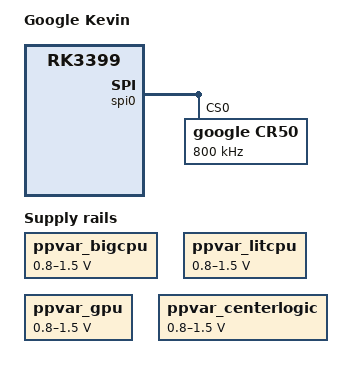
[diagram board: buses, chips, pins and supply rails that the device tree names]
/*
 * Google Gru-Kevin Rev 4 board device tree source
 *
 * Copyright 2016 Google, Inc
 *
 * This file is dual-licensed: you can use it either under the terms
 * of the GPL or the X11 license, at your option. Note that this dual
 * licensing only applies to this file, and not this project as a
 * whole.
 *
 *  a) This file is free software; you can redistribute it and/or
 *     modify it under the terms of the GNU General Public License as
 *     published by the Free Software Foundation; either version 2 of the
 *     License, or (at your option) any later version.
 *
 *     This file is distributed in the hope that it will be useful,
 *     but WITHOUT ANY WARRANTY; without even the implied warranty of
 *     MERCHANTABILITY or FITNESS FOR A PARTICULAR PURPOSE.  See the
 *     GNU General Public License for more details.
 *
 *  Or, alternatively,
 *
 *  b) Permission is hereby granted, free of charge, to any person
 *     obtaining a copy of this software and associated documentation
 *     files (the "Software"), to deal in the Software without
 *     restriction, including without limitation the rights to use,
 *     copy, modify, merge, publish, distribute, sublicense, and/or
 *     sell copies of the Software, and to permit persons to whom the
 *     Software is furnished to do so, subject to the following
 *     conditions:
 *
 *     The above copyright notice and this permission notice shall be
 *     included in all copies or substantial portions of the Software.
 *
 *     THE SOFTWARE IS PROVIDED "AS IS", WITHOUT WARRANTY OF ANY KIND,
 *     EXPRESS OR IMPLIED, INCLUDING BUT NOT LIMITED TO THE WARRANTIES
 *     OF MERCHANTABILITY, FITNESS FOR A PARTICULAR PURPOSE AND
 *     NONINFRINGEMENT. IN NO EVENT SHALL THE AUTHORS OR COPYRIGHT
 *     HOLDERS BE LIABLE FOR ANY CLAIM, DAMAGES OR OTHER LIABILITY,
 *     WHETHER IN AN ACTION OF CONTRACT, TORT OR OTHERWISE, ARISING
 *     FROM, OUT OF OR IN CONNECTION WITH THE SOFTWARE OR THE USE OR
 *     OTHER DEALINGS IN THE SOFTWARE.
 */

/dts-v1/;
#include "rk3399-gru-kevin.dtsi"

/ {
	model = "Google Kevin";
	compatible = "google,kevin-rev4", "google,kevin",
		     "google,gru", "rockchip,rk3399";
};

/* Adjust DVFS rails back to wider range */

&ppvar_bigcpu {
	regulator-min-microvolt = <800000>;
	regulator-max-microvolt = <1500000>;
};

&ppvar_litcpu {
	regulator-min-microvolt = <800000>;
	regulator-max-microvolt = <1500000>;
};

&ppvar_gpu {
	regulator-min-microvolt = <800000>;
	regulator-max-microvolt = <1500000>;
};

&ppvar_centerlogic {
	regulator-min-microvolt = <800000>;
	regulator-max-microvolt = <1500000>;
};

/* HACK for -rev4 to bump up voltage to make factory test more stable.
 * issue:55602(issue:54814?)
 *
 * With the new OPPs of bit/lit cpu, it's now more stable when changing
 * frequencies from 2088M/1608M to 600M/408M. But after testing stressapptest
 * on 5pcs, there is 1/5 failed.
 *
 */

&ppvar_bigcpu {
	regulator-microvolt-offset = <50000>;
};
&ppvar_centerlogic {
	regulator-microvolt-offset = <50000>;
};
&ppvar_litcpu {
	regulator-microvolt-offset = <50000>;
};

/* No i2c-based TPM */
&ap_i2c_tpm {
	status = "disabled";
	/delete-node/ tpm@20;
};

&spi0 {
	status = "okay";

	cr50@0 {
		compatible = "google,cr50";
		reg = <0>;
		spi-max-frequency = <800000>; // TODO: review later
	};
};
